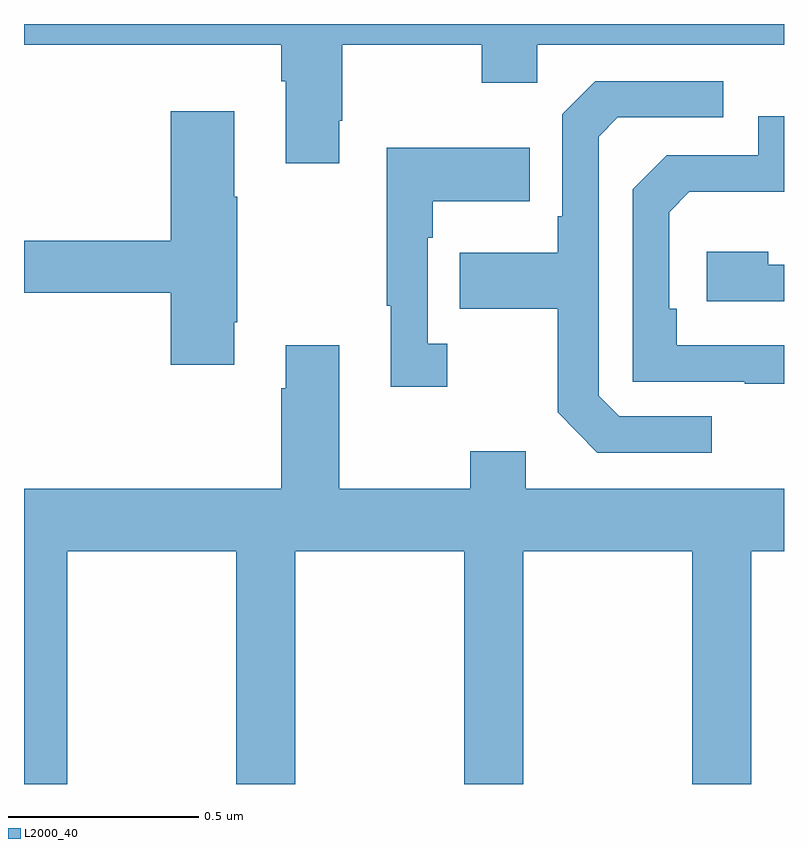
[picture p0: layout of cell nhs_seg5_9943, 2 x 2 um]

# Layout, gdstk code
import gdstk
lib = gdstk.Library(unit=1e-6, precision=1e-09)
def P(c, l, *ps):  # polygons
    for p in ps: c.add(gdstk.Polygon(p, *l))
L2000_40 = (2000, 40)

nhs_seg5_9943 = lib.new_cell('nhs_seg5_9943')
P(nhs_seg5_9943, L2000_40, [(240.829,872.545),(240.837,872.545),(240.837,872.744),(241.204,872.744),(241.204,872.645),(241.35,872.645),(241.35,872.744),(242,872.744),(242,872.799),(240,872.799),(240,872.744),(240.677,872.744),(240.677,872.648),(240.689,872.648),(240.689,872.433),(240.829,872.433)],
  [(241.81,871.767),(241.566,871.767),(241.512,871.821),(241.512,872.502),(241.563,872.553),(241.84,872.553),(241.84,872.649),(241.503,872.649),(241.416,872.562),(241.416,872.293),(241.404,872.293),(241.404,872.197),(241.147,872.197),(241.147,872.05),(241.404,872.05),(241.404,871.777),(241.509,871.671),(241.81,871.671)],
  [(240.553,872.014),(240.561,872.014),(240.561,872.345),(240.553,872.345),(240.553,872.569),(240.386,872.569),(240.386,872.228),(240,872.228),(240,872.092),(240.386,872.092),(240.386,871.902),(240.553,871.902)],
  [(242,871.953),(241.718,871.953),(241.718,872.05),(241.698,872.05),(241.698,872.304),(241.751,872.357),(242,872.357),(242,872.556),(241.932,872.556),(241.932,872.454),(241.692,872.454),(241.602,872.364),(241.602,871.857),(241.897,871.857),(241.897,871.852),(242,871.852)],
  [(241.114,871.958),(241.062,871.958),(241.062,872.237),(241.075,872.237),(241.075,872.333),(241.331,872.333),(241.331,872.473),(240.954,872.473),(240.954,872.057),(240.965,872.057),(240.965,871.845),(241.114,871.845)],
  [(242,872.166),(241.958,872.166),(241.958,872.2),(241.797,872.2),(241.797,872.07),(242,872.07)],
  [(240,870.799),(240.114,870.799),(240.114,871.412),(240.559,871.412),(240.559,870.799),(240.714,870.799),(240.714,871.412),(241.159,871.412),(241.159,870.799),(241.314,870.799),(241.314,871.412),(241.759,871.412),(241.759,870.799),(241.914,870.799),(241.914,871.412),(242,871.412),(242,871.576),(241.321,871.576),(241.321,871.675),(241.174,871.675),(241.174,871.576),(240.829,871.576),(240.829,871.954),(240.689,871.954),(240.689,871.841),(240.677,871.841),(240.677,871.576),(240,871.576)])

lib.write_gds('nhs_seg5_9943.gds')
